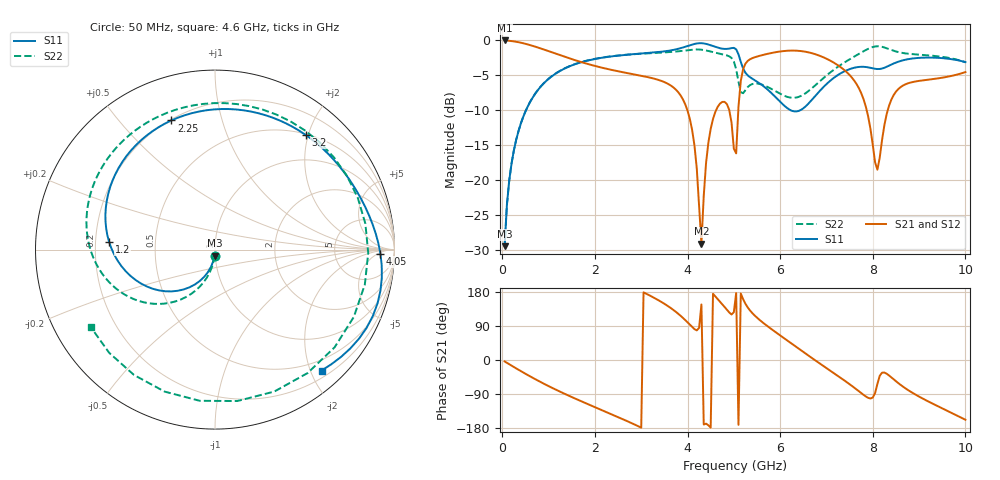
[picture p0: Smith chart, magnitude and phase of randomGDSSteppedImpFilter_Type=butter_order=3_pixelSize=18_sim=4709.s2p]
! freq	dB(S11)	phase(S11)	dB(S12)	phase(S12)
!  dB(S21)	phase(S21)	dB(S22)	phase(S22)
!S-par simulation data
#  GHz  S  DB  R 50
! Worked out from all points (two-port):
!   200 points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, 50 MHz to 10 GHz, reference 50 ohm
!   highest |S21| = -0.01 dB at 50 MHz (marker M1); lowest = -29.1 dB at 4.3 GHz (marker M2)
!   |S21| within 3 dB of the highest: start of sweep to 1.657 GHz; 5.291 GHz to 7.112 GHz (1.821 GHz wide, 29.4 % of centre)
!   lowest |S11| = -29.5 dB at 50 MHz (marker M3), VSWR 1.07, Z = 49.6 - j3.33 ohm
!   |S11| at or under -10 dB: start of sweep to 512.9 MHz; 6.227 GHz to 6.436 GHz (208.8 MHz wide, 3.3 % of centre)
!   |S22| runs from -29.5 to -0.8 dB; largest |S21 - S12| = 0
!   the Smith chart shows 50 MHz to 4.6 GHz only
!   S11 on the Smith chart (normalised r, x): 50 MHz: 0.99, -0.07; 1.2 GHz: 0.26, +0.03; 2.25 GHz: 0.21, +0.70; 3.2 GHz: 0.51, +1.95; 4.05 GHz: 22, -7; 4.6 GHz: 0.31, -2.18
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0.05  -29.47 -94.4  -0.01 -3.8  -0.01 -3.8  -29.47 -93.3
0.35  -12.99 -119.9  -0.26 -25.7  -0.26 -25.7  -12.98 -112.5
1.2  -4.56 175.8  -2.01 -80.8  -2.01 -80.8  -4.53 -158.7
1.75  -3.05 139.7  -3.20 -111.3  -3.20 -111.3  -3.03 176.6
2.25  -2.39 108.7  -4.07 -137.5  -4.07 -137.5  -2.37 155.2
3.2  -1.78 51.7  -5.35 169.2  -5.35 169.2  -1.84 105.7
3.4  -1.66 39.9  -5.72 155.7  -5.72 155.7  -1.77 90.5
4.05  -0.70 -1.5  -11.25 93.2  -11.25 93.2  -1.37 -1.3
4.3  -0.41 -22.8  -29.13 146.5  -29.13 146.5  -1.34 -67.3
4.6  -0.93 -48.6  -10.25 167.9  -10.25 167.9  -1.77 -148.1
4.85  -1.22 -68.8  -9.13 132.7  -9.13 132.7  -2.16 149.8
5.05  -1.28 -94.8  -16.18 176.5  -16.18 176.5  -4.12 54.9
5.2  -4.03 -111.8  -4.12 160.6  -4.12 160.6  -7.57 -89.4
5.4  -5.49 -120.2  -2.55 123.6  -2.55 123.6  -6.25 -167.7
5.85  -7.79 -165.0  -1.76 78.1  -1.76 78.1  -7.10 147.3
6.7  -8.40 41.7  -1.86 4.0  -1.86 4.0  -6.78 139.5
7.2  -5.17 -29.5  -3.36 -38.2  -3.36 -38.2  -4.01 124.5
7.65  -3.85 -94.4  -6.26 -77.7  -6.26 -77.7  -2.12 103.5
8  -4.01 -179.7  -14.96 -99.1  -14.96 -99.1  -0.95 82.0
8.35  -3.63 61.3  -9.38 -40.7  -9.38 -40.7  -1.26 57.9
9.05  -2.49 -43.2  -5.75 -99.9  -5.75 -99.9  -2.07 24.6
10  -3.11 -98.5  -4.55 -157.6  -4.55 -157.6  -3.14 -32.4
